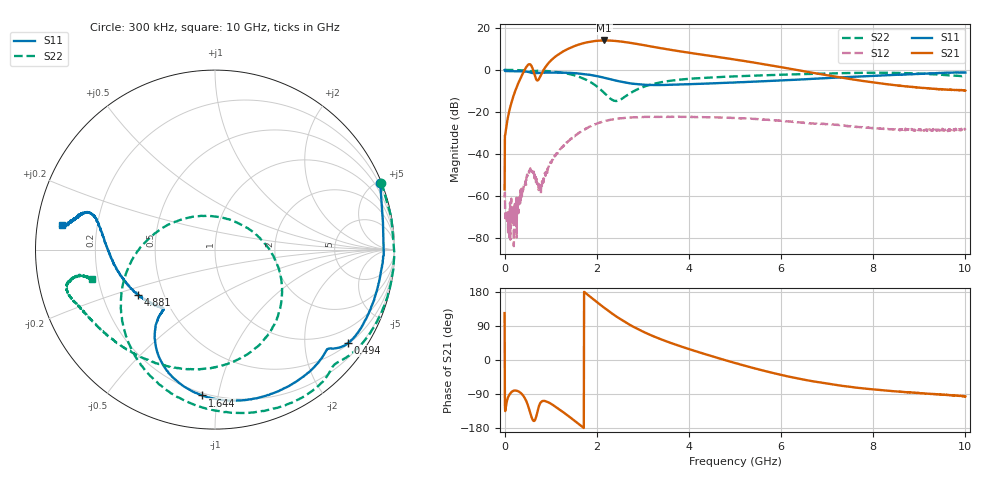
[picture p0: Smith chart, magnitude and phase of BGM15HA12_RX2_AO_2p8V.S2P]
!Agilent Technologies,E5071C,MY46317100,A.11.08
!Date: Fri Dec 12 16:49:38 2014
!Data & Calibration Information:
!Freq	S11:SOLT2(ON)	S21:SOLT2(ON)	S12:SOLT2(ON)	S22:SOLT2(ON)
!PortZ  Port1:50+j0  Port2:50+j0
!Above PortZ is port z conversion or system Z0 setting when saving the data.
!When reading, reference impedance value at option line is always used.
# Hz S RI R 50
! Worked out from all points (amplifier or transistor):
!   1601 points, 300 kHz to 10 GHz, reference 50 ohm
!   highest |S21| = 14.0 dB at 2.163 GHz (marker M1)
!   |S21| within 3 dB of that: 1.478 GHz to 3.218 GHz (1.74 GHz wide, 74.1 % of centre)
!   unconditionally stable (mu >= 1): start of sweep to 15.59 MHz; 24.77 MHz to end of sweep
!   at 1.663 GHz: K = 1.24, MAG = 17.9 dB, |S12| = -29.2 dB
!   at 5 GHz: K = 1.75, MAG = 8.9 dB, |S12| = -22.9 dB
!   at 10 GHz: K = 5.90, MAG = -1.3 dB, |S12| = -28.5 dB
!   lowest NFmin = 0.99 dB at 1.45 GHz
!   S11 on the Smith chart (normalised r, x): 300 kHz: 0.10, +5.13; 494 MHz: 0.54, -3.08; 1.644 GHz: 0.18, -0.90; 4.881 GHz: 0.36, -0.24; 10 GHz: 0.07, +0.08
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300000  0.9204 0.3727  -0.000793 0.00119  -0.000841 0.000369  0.9269 0.3737
1.127966e8  0.9235 -0.1287  0.000322 -0.1186  0.000268 0.000523  0.9842 -0.162
3.627891e8  0.8392 -0.3897  0.0211 -0.6981  -0.000881 -0.000178  0.8476 -0.4887
4.940352e8  0.7413 -0.5196  -0.547 -1.143  -0.00296 0.000451  0.717 -0.61
5.752828e8  0.6557 -0.5514  -1.081 -0.6969  -0.00261 0.00312  0.6575 -0.6495
6.690299e8  0.6181 -0.5659  -0.6048 -0.2704  -0.000728 0.00219  0.598 -0.7386
9.565213e8  0.4697 -0.724  -0.5525 -1.363  -0.00497 -0.000264  0.2285 -0.905
1.31901e9  0.194 -0.8346  -2.314 -1.816  -0.0169 0.00452  -0.253 -0.7937
1.644001e9  -0.0713 -0.8129  -4.078 -0.5439  -0.0257 0.0214  -0.51 -0.4316
1.669e9  -0.0895 -0.8058  -4.178 -0.3911  -0.0265 0.0225  -0.5172 -0.3988
1.912743e9  -0.2425 -0.7034  -4.548 1.517  -0.0232 0.0422  -0.4695 -0.0727
2.162735e9  -0.3226 -0.566  -3.72 3.374  -0.00963 0.0598  -0.2427 0.1465
2.375229e9  -0.3353 -0.4644  -2.386 4.3  0.0087 0.0665  -0.00469 0.1852
2.600222e9  -0.3193 -0.3906  -0.8949 4.524  0.0273 0.0664  0.1986 0.1085
2.943962e9  -0.293 -0.3419  0.8053 3.939  0.0496 0.0572  0.3545 -0.1053
3.3377e9  -0.291 -0.3259  1.823 2.832  0.0646 0.0403  0.3606 -0.3381
3.99393e9  -0.3387 -0.3068  2.246 1.253  0.0745 0.0135  0.1728 -0.5875
4.881404e9  -0.4295 -0.2513  1.841 -0.1181  0.0694 -0.0191  -0.2141 -0.6593
5.00015e9  -0.4413 -0.2397  1.749 -0.2398  0.068 -0.0233  -0.2658 -0.6492
6.66885e9  -0.6108 0.0361  0.4848 -0.7094  0.0327 -0.0426  -0.7187 -0.3582
8.33755e9  -0.7203 0.205  0.0679 -0.4452  0.0152 -0.0359  -0.8277 -0.2092
1e10  -0.8535 0.1356  -0.0337 -0.3214  0.0137 -0.0348  -0.683 -0.1653
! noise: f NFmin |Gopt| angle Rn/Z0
1.45e+09  0.9919  0.4024  68.82  0.2018
1.5e+09  1.004  0.388  71.85  0.1953
1.7e+09  1.011  0.3816  78.35  0.1899
1.85e+09  1.025  0.3956  83.77  0.1832
1.9e+09  1.041  0.3905  86.2  0.177
2.1e+09  1.073  0.3823  92.88  0.1707
2.3e+09  1.105  0.3876  99.21  0.1639
2.4e+09  1.118  0.3959  103  0.1588
2.6e+09  1.183  0.3946  108.4  0.1543
2.75e+09  1.229  0.3935  114.4  0.146
